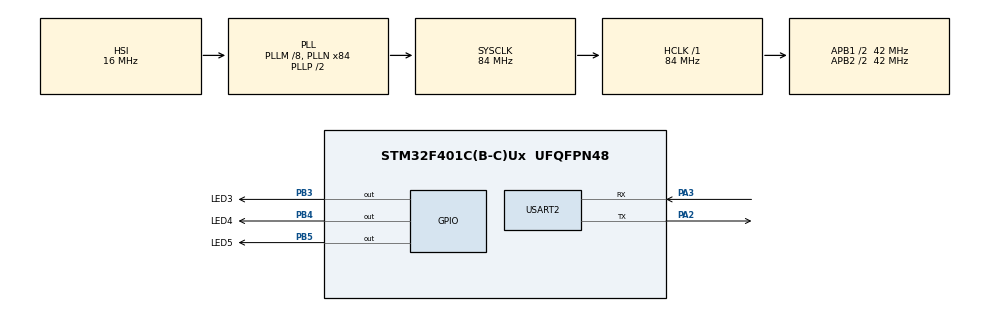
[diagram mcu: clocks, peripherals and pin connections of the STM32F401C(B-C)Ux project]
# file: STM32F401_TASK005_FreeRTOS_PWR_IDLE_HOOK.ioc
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Mcu.Family=STM32F4
Mcu.Name=STM32F401C(B-C)Ux
Mcu.Package=UFQFPN48
NVIC.PriorityGroup=NVIC_PRIORITYGROUP_4
NVIC.TIM5_IRQn=true\:15\:0\:false\:false\:true\:false\:true\:true
NVIC.TimeBase=TIM5_IRQn
NVIC.TimeBaseIP=TIM5
PA13.Mode=Serial_Wire
PA13.Signal=SYS_JTMS-SWDIO
PA14.Mode=Serial_Wire
PA14.Signal=SYS_JTCK-SWCLK
PA2.Mode=Asynchronous
PA2.Signal=USART2_TX
PA3.Mode=Asynchronous
PA3.Signal=USART2_RX
PB3.GPIO_Label=LED3
PB3.Signal=GPIO_Output
PB4.GPIO_Label=LED4
PB4.Signal=GPIO_Output
PB5.GPIO_Label=LED5
PB5.Signal=GPIO_Output
ProjectManager.HeapSize=0x200
ProjectManager.StackSize=0x400
ProjectManager.TargetToolchain=STM32CubeIDE
RCC.48MHZClocksFreq_Value=42000000
RCC.AHBFreq_Value=84000000
RCC.APB1CLKDivider=RCC_HCLK_DIV2
RCC.APB1Freq_Value=42000000
RCC.APB1TimFreq_Value=84000000
RCC.APB2CLKDivider=RCC_HCLK_DIV2
RCC.APB2Freq_Value=42000000
RCC.APB2TimFreq_Value=84000000
RCC.CortexFreq_Value=84000000
RCC.HCLKFreq_Value=84000000
RCC.HSE_VALUE=25000000
RCC.HSI_VALUE=16000000
RCC.LSE_VALUE=32768
RCC.PLLM=8
RCC.PLLN=84
RCC.SYSCLKFreq_VALUE=84000000
RCC.SYSCLKSource=RCC_SYSCLKSOURCE_PLLCLK
RCC.VCOOutputFreq_Value=168000000
USART2.VirtualMode=VM_ASYNC
VP_SYS_VS_tim5.Mode=TIM5
board=custom

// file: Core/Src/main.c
/* USER CODE BEGIN Header */
/**
  ******************************************************************************
  * @file           : main.c
  * @brief          : Main program body
  ******************************************************************************
  * @attention
  *
  * Copyright (c) 2024 STMicroelectronics.
  * All rights reserved.
  *
  * This software is licensed under terms that can be found in the LICENSE file
  * in the root directory of this software component.
  * If no LICENSE file comes with this software, it is provided AS-IS.
  *
  ******************************************************************************
  */
/* USER CODE END Header */
#include "main.h"

/* USER CODE BEGIN Includes */
#include "FreeRTOS.h"
#include "task.h"
#include "stdio.h"
/* USER CODE END Includes */

/* USER CODE BEGIN PD */
#define DWT_CTRL (*(volatile uint32_t *) 0xE0001000)
/* USER CODE END PD */

UART_HandleTypeDef huart2;

/* USER CODE BEGIN PV */
TaskHandle_t task1_handle;
TaskHandle_t task2_handle;

BaseType_t status;

/* USER CODE END PV */

void SystemClock_Config(void);
static void MX_GPIO_Init(void);
static void MX_USART2_UART_Init(void);
/* USER CODE BEGIN PFP */
static void Task1_Handler(void*);
static void Task2_Handler(void*);

extern void SEGGER_UART_init(uint32_t);
/* USER CODE END PFP */

int main(void)
{

  /* MCU Configuration--------------------------------------------------------*/

  /* Reset of all peripherals, Initializes the Flash interface and the Systick. */
  HAL_Init();

  /* Configure the system clock */
  SystemClock_Config();

  /* Initialize all configured peripherals */
  MX_GPIO_Init();
  MX_USART2_UART_Init();
  /* USER CODE BEGIN 2 */

  //enable the cycle counter (CYCCNT register)
  DWT_CTRL |= (1<<0);

  //SEGGER_SYSVIEW_DisableEvents(((U32)1u << 17)); //Disable Idle event

  SEGGER_UART_init(230400);

  SEGGER_SYSVIEW_Conf();
   //SEGGER_SYSVIEW_Start(); starting happens in segger_uart

   status = xTaskCreate(Task1_Handler, "Task_1", 200, NULL, 2, &task1_handle);
   configASSERT(status == pdPASS);

   status = xTaskCreate(Task2_Handler, "Task_2", 200,  NULL, 2, &task2_handle);
   configASSERT(status == pdPASS);

   vTaskStartScheduler(); //if the scheduler fails, this function will return.

  /* USER CODE END 2 */

  /* Infinite loop */
  while (1)
  {

  }
}

void SystemClock_Config(void)
{
  RCC_OscInitTypeDef RCC_OscInitStruct = {0};
  RCC_ClkInitTypeDef RCC_ClkInitStruct = {0};

  /** Configure the main internal regulator output voltage
  */
  __HAL_RCC_PWR_CLK_ENABLE();
  __HAL_PWR_VOLTAGESCALING_CONFIG(PWR_REGULATOR_VOLTAGE_SCALE2);

  /** Initializes the RCC Oscillators according to the specified parameters
  * in the RCC_OscInitTypeDef structure.
  */
  RCC_OscInitStruct.OscillatorType = RCC_OSCILLATORTYPE_HSI;
  RCC_OscInitStruct.HSIState = RCC_HSI_ON;
  RCC_OscInitStruct.HSICalibrationValue = RCC_HSICALIBRATION_DEFAULT;
  RCC_OscInitStruct.PLL.PLLState = RCC_PLL_ON;
  RCC_OscInitStruct.PLL.PLLSource = RCC_PLLSOURCE_HSI;
  RCC_OscInitStruct.PLL.PLLM = 8;
  RCC_OscInitStruct.PLL.PLLN = 84;
  RCC_OscInitStruct.PLL.PLLP = RCC_PLLP_DIV2;
  RCC_OscInitStruct.PLL.PLLQ = 4;
  if (HAL_RCC_OscConfig(&RCC_OscInitStruct) != HAL_OK)
  {
    Error_Handler();
  }

  /** Initializes the CPU, AHB and APB buses clocks
  */
  RCC_ClkInitStruct.ClockType = RCC_CLOCKTYPE_HCLK|RCC_CLOCKTYPE_SYSCLK
                              |RCC_CLOCKTYPE_PCLK1|RCC_CLOCKTYPE_PCLK2;
  RCC_ClkInitStruct.SYSCLKSource = RCC_SYSCLKSOURCE_PLLCLK;
  RCC_ClkInitStruct.AHBCLKDivider = RCC_SYSCLK_DIV1;
  RCC_ClkInitStruct.APB1CLKDivider = RCC_HCLK_DIV2;
  RCC_ClkInitStruct.APB2CLKDivider = RCC_HCLK_DIV2;

  if (HAL_RCC_ClockConfig(&RCC_ClkInitStruct, FLASH_LATENCY_2) != HAL_OK)
  {
    Error_Handler();
  }
}

static void MX_USART2_UART_Init(void)
{

  huart2.Instance = USART2;
  huart2.Init.BaudRate = 115200;
  huart2.Init.WordLength = UART_WORDLENGTH_8B;
  huart2.Init.StopBits = UART_STOPBITS_1;
  huart2.Init.Parity = UART_PARITY_NONE;
  huart2.Init.Mode = UART_MODE_TX_RX;
  huart2.Init.HwFlowCtl = UART_HWCONTROL_NONE;
  huart2.Init.OverSampling = UART_OVERSAMPLING_16;
  if (HAL_UART_Init(&huart2) != HAL_OK)
  {
    Error_Handler();
  }

}

static void MX_GPIO_Init(void)
{
  GPIO_InitTypeDef GPIO_InitStruct = {0};

  /* GPIO Ports Clock Enable */
  __HAL_RCC_GPIOA_CLK_ENABLE();
  __HAL_RCC_GPIOB_CLK_ENABLE();

  /*Configure GPIO pin Output Level */
  HAL_GPIO_WritePin(GPIOB, LED3_Pin|LED4_Pin|LED5_Pin, GPIO_PIN_RESET);

  /*Configure GPIO pins : LED3_Pin LED4_Pin LED5_Pin */
  GPIO_InitStruct.Pin = LED3_Pin|LED4_Pin|LED5_Pin;
  GPIO_InitStruct.Mode = GPIO_MODE_OUTPUT_PP;
  GPIO_InitStruct.Pull = GPIO_NOPULL;
  GPIO_InitStruct.Speed = GPIO_SPEED_FREQ_LOW;
  HAL_GPIO_Init(GPIOB, &GPIO_InitStruct);

}

/* USER CODE BEGIN 4 */

static void Task1_Handler(void* parameters)
{
    char msg[30];

	while(1){
		  HAL_GPIO_TogglePin(GPIOB, LED3_Pin);
		  vTaskDelay(pdMS_TO_TICKS(1000)); //This is a non-blocking delay
		  snprintf(msg,30,"%s\n", "Toggle Led3");
		 		 	  SEGGER_SYSVIEW_PrintfTarget(msg);

	}

}

static void Task2_Handler(void* parameters)
{
    char msg[30];

	while(1){
		  HAL_GPIO_TogglePin(GPIOB, LED4_Pin);
		  vTaskDelay(pdMS_TO_TICKS(800)); //This is a non-blocking delay
		  snprintf(msg,30,"%s\n", "Toggle Led4");
		 	  SEGGER_SYSVIEW_PrintfTarget(msg);
	}

}

void vApplicationIdleHook(void)
{
	HAL_PWR_EnterSLEEPMode(PWR_MAINREGULATOR_ON, PWR_SLEEPENTRY_WFI);
}

/* USER CODE END 4 */

void HAL_TIM_PeriodElapsedCallback(TIM_HandleTypeDef *htim)
{
  if (htim->Instance == TIM5) {
    HAL_IncTick();
  }
}

void Error_Handler(void)
{
  __disable_irq();
  while (1)
  {
  }
}
